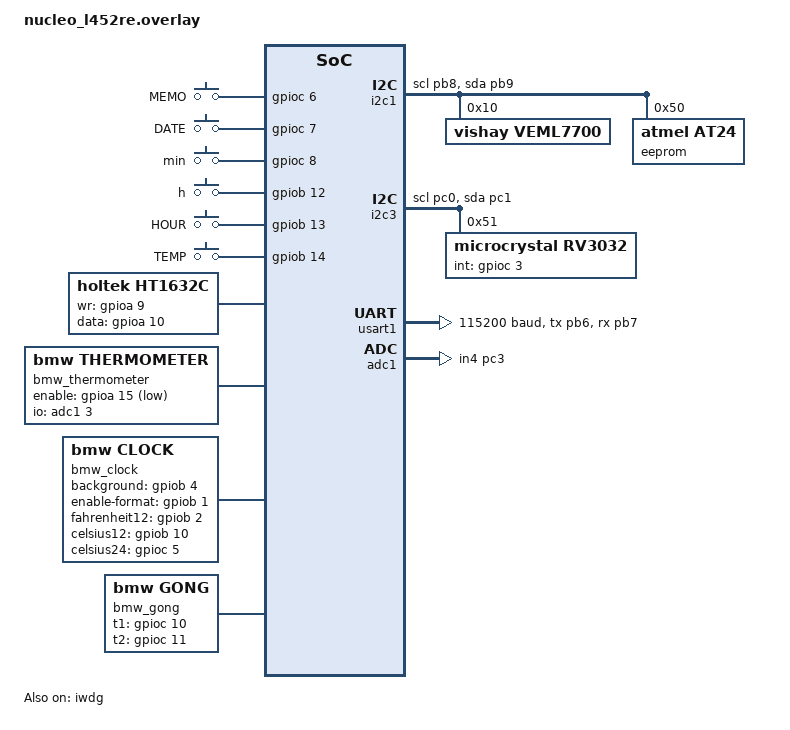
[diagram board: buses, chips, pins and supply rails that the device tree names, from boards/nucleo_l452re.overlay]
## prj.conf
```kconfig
# Copyright (c) 2021 Farit N
# SPDX-License-Identifier: Apache-2.0
#
# This file contains selected Kconfig options for the application.

CONFIG_CPLUSPLUS=y

CONFIG_LOG=y

CONFIG_DISPLAY=y
CONFIG_HT1632C=y

CONFIG_PM=n
CONFIG_PM_DEVICE=n
CONFIG_PM_DEVICE_RUNTIME=n

CONFIG_I2C=y
CONFIG_SENSOR=y
CONFIG_VEML7700=y

CONFIG_EEPROM=y
CONFIG_EEPROM_AT24=y

CONFIG_STM32L_RTC=n
CONFIG_STM32L_RTC_LSE_DRIVE_LOW=n

CONFIG_MICROCRYSTAL_RV3032=y

CONFIG_ADC=y

CONFIG_GPIO=y

CONFIG_WATCHDOG=y
CONFIG_WDT_DISABLE_AT_BOOT=n
CONFIG_IWDG_STM32=y
CONFIG_IWDG_STM32_INITIAL_TIMEOUT=26214
```

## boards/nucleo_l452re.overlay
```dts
/*
 * Copyright (c) 2021 Farit N
 * SPDX-License-Identifier: Apache-2.0
 */

/* This devicetree overlay file will be automatically picked by the Zephyr
 * build system when building the sample for the nucleo_l452re board. It shows
 * how the example-application can be built on sample boards already provided
 * by Zephyr.
 */

/ {
    chosen {
        zephyr,console = &usart1;
        zephyr,shell-uart = &usart1;
        zephyr,sram = &sram0;
        zephyr,flash = &flash0;
        zephyr,can-primary = &can1;
    };

    buttons {
        compatible = "gpio-keys";
        button_memo: button0 {
            label = "MEMO";
            gpios = <&gpioc 6 0>;
        };
        button_date: button1 {
            label = "DATE";
            gpios = <&gpioc 7 0>;
        };
        button_min: button2 {
            label = "min";
            gpios = <&gpioc 8 0>;
        };
        button_h: button3 {
            label = "h";
            gpios = <&gpiob 12 0>;
        };
        button_hour: button4 {
            label = "HOUR";
            gpios = <&gpiob 13 0>;
        };
        button_temp: button5 {
            label = "TEMP";
            gpios = <&gpiob 14 0>;
        };
    };

};

/ {
    ht1632c {
        compatible = "holtek,ht1632c";
        cs-gpios = <&gpioa 8 0>;
        wr-gpios = <&gpioa 9 0>;
        data-gpios = <&gpioa 10 0>;
        commons-options = <0x00>;
    };
};

/ {
    bmw_thermometer {
        compatible = "bmw,thermometer";
        io-channels = <&adc1 3>;
        enable-gpios = <&gpioa 15 GPIO_ACTIVE_LOW>;
    };
};

/ {
    bmw_clock {
        compatible = "bmw,clock";
        background-gpios = <&gpiob 4 0>;
        enable-format-gpios = <&gpiob 1 0>;
        fahrenheit12-gpios = <&gpiob 2 0>;
        celsius12-gpios = <&gpiob 10 0>;
        celsius24-gpios = <&gpioc 5 0>;
    };

    bmw_gong {
        compatible = "bmw,gong";
        t1-gpios = <&gpioc 10 0>;
        t2-gpios = <&gpioc 11 0>;
    };
};

/ {
     soc {
        rtc: rtc@40002800 {
            status="disabled";
        };

       stm32lrtc@40002800 {
            compatible = "st,stm32lrtc";
            status = "disabled";
            reg = < 0x40002800 0x400 >;
            interrupts = < 0x29 0x0 >;
            clocks = < &rcc 0x2 0x10000000 >;
            prescaler = < 0x8000 >;
        };

    };
};

&i2c1 {
    status = "okay";
    pinctrl-0 = < &i2c1_scl_pb8 &i2c1_sda_pb9 >;
    pinctrl-names = "default";

    veml7700@10 {
        compatible = "vishay,veml7700";
        reg = <0x10>;
        als-gain = <0x00>;
        als-it = <0x01>;
        als-pers = <0x01>;
        psm = <0x00>;
    };

    eeprom@50 {
        compatible = "atmel,at24";
        reg = <0x50>;
        size = <65536>;
        pagesize = <8>;
        address-width = <16>;
        timeout = <5>;
    };
};

&i2c2 {
    status = "disabled";
};

&i2c3 {
    status = "okay";
    pinctrl-0 = < &i2c3_scl_pc0 &i2c3_sda_pc1 >;
    pinctrl-names = "default";

    rv3032@51 {
        compatible = "microcrystal,rv3032";
        reg = <0x51>;
        interrupts = < 0x1 0x0 >;
        int-gpios = <&gpioc 3 0>;
        nclke = <0x01>;
        bsm = <0x02>;
        tcm = <0x00>;
        tcr = <0x00>;
    };
};

&usart1 {
    pinctrl-0 = <&usart1_tx_pb6 &usart1_rx_pb7>;
    pinctrl-names = "default";
    current-speed = <115200>;
    status = "okay";
};

&spi1 {
    status = "disabled";
};

&clk_lse {
    status = "disabled";
};

&adc1 {
    pinctrl-0 = <&adc1_in4_pc3>;
    pinctrl-names = "default";
    status = "okay";
};

&can1 {
    status = "disabled";
};

&clk_lsi {
    status = "okay";
};

&iwdg {
    status = "okay";
};
```

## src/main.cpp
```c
/*
 * Copyright (c) 2022 Farit N
 * SPDX-License-Identifier: Apache-2.0
 */

#include <zephyr/kernel.h>

#include "app_version.h"

#include <zephyr/logging/log.h>
LOG_MODULE_REGISTER(main, LOG_LEVEL_INF);

#include <zephyr/device.h>
#include <zephyr/devicetree.h>
#include <zephyr/drivers/gpio.h>
#include <zephyr/drivers/display.h>

#include <zephyr/sys/printk.h>

#include <zephyr/pm/device.h>

#include <zephyr/drivers/sensor.h>
#include <zephyr/drivers/i2c.h>

#include <zephyr/drivers/eeprom.h>

#include <driver_rtc.h>

#include <ClockAlarm.h>
#include <ClockBackgroundLight.h>
#include <ClockButtons.h>
#include <ClockDisplay.h>
#include <ClockLightSensor.h>
#include <ClockSettings.h>
#include <ClockTemperature.h>
#include <ClockTime.h>
#include <ClockTimezone.h>
#include <ClockWatchdog.h>

K_THREAD_STACK_DEFINE(displayStackArea, 2048);
K_THREAD_STACK_DEFINE(buttonsStackArea, 4096);
K_THREAD_STACK_DEFINE(lightSensorStackArea, 2048);
K_THREAD_STACK_DEFINE(alarmStackArea, 2048);
K_THREAD_STACK_DEFINE(backgroundLightStackArea, 2048);


static k_tid_t displayThreadId;

/**
 * Processes buttons
 */
void processButtons(void *clockSettings, void *clockTime, void *clockDisplay)
{
    printk("In processButtons\n");

    printk("in buttons, threadId: %lu, currentThreadId: %lu\n", (unsigned long)displayThreadId, (unsigned long)k_current_get());

    ClockButtons clockButtons((ClockSettings*)clockSettings, (ClockTime*)clockTime, (ClockDisplay*)clockDisplay);

    clockButtons.processButtonActions();
}


/**
 * Sets the brightness of the display depending on the light level
 */
void adjustBrightness(void *clockSettings, void *clockDisplayInput, void*)
{
    //use this thread as watchdog
    ClockWatchdog watchdog;

    ClockLightSensor lightSensor;
    ClockDisplay *clockDisplay = (ClockDisplay*)clockDisplayInput;

    while(1) {
        uint8_t brightness = lightSensor.getBrightness();

        clockDisplay->setBrightness(brightness);

        //feed the watchdog, the thread runs well
        watchdog.feed();

        printk("Sleeping in adjustBrightness\n");
        //it must be smaller than the Watchdog window.max value
        k_msleep(18000);
    }

    return;
}

/**
 * Process an alarm
 */
void processAlarm(void *clockSettings, void *clockTime, void*)
{
    ClockAlarm alarm((ClockSettings*)clockSettings, (ClockTime*)clockTime);

    alarm.process();

    return;
}

/**
 * Process the background light change
 */
void processBackgroundLight(void *clockDisplay, void*, void*)
{
    ClockBackgroundLight backgroundLight((ClockDisplay*)clockDisplay);

    backgroundLight.process();

    return;
}


void displayTime(void*, void*, void*)
{
    ClockSettings clockSettings;

    ClockTime clockTime(&clockSettings);

    ClockTemperature clockTemperature;

    ClockDisplay clockDisplay(&clockSettings, &clockTime, &clockTemperature);
    clockDisplay.setThreadId(k_current_get());


    printk("in display, threadId: %lu, currentThreadId: %lu\n", (unsigned long)displayThreadId, (unsigned long)k_current_get());


    //creates a thread with the function processButtons
    struct k_thread buttonsThreadData;

    k_thread_create(&buttonsThreadData, buttonsStackArea,
        K_THREAD_STACK_SIZEOF(buttonsStackArea), processButtons, &clockSettings, &clockTime, &clockDisplay, -1, 0, K_NO_WAIT);

    //creates a thread with the function adjustBrightness
    struct k_thread lightSensorThreadData;

    k_thread_create(&lightSensorThreadData, lightSensorStackArea,
        K_THREAD_STACK_SIZEOF(lightSensorStackArea), adjustBrightness, &clockSettings, &clockDisplay, NULL, 6, 0, K_MSEC(100));

    //creates a thread with the function processBackgroundLight
    struct k_thread backgroundLightThreadData;

    k_thread_create(&backgroundLightThreadData, backgroundLightStackArea,
        K_THREAD_STACK_SIZEOF(backgroundLightStackArea), processBackgroundLight, &clockDisplay, NULL, NULL, 7, 0, K_MSEC(100));

    //creates a thread with the function processAlarm
    struct k_thread alarmThreadData;

    k_thread_create(&alarmThreadData, alarmStackArea,
        K_THREAD_STACK_SIZEOF(alarmStackArea), processAlarm, &clockSettings, &clockTime, NULL, 3, 0, K_NO_WAIT);

    //so the lightSensor process finish
    k_msleep(300);

    while(1) {

        clockTime.getRtcTime();

        printk("Time: %.2d:%.2d:%.2d", clockTime.getHour(), clockTime.getMinute(), clockTime.getSecond());        
        printk(", Date: %.2d-%.2d-%.2d, Weekday: %.2d\n", clockTime.getYear(), clockTime.getMonth(), clockTime.getDay(), clockTime.getWeekday());
        
        clockDisplay.show();

        k_msleep(clockDisplay.getSleepTime());
    }

    return;
}

int main(void)
{
    //creates a thread with the function processButtons
    struct k_thread displayThreadData;

    displayThreadId = k_thread_create(&displayThreadData, displayStackArea,
        K_THREAD_STACK_SIZEOF(displayStackArea), displayTime, NULL, NULL, NULL, 1, 0, K_NO_WAIT);

    printk("in main, threadId: %zu\n", (size_t)displayThreadId);

    return 0;
}
```

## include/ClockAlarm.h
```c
/*
 * The class that handles an alarm by playing a signal
 * 
 */
#ifndef __CLOCK_ALARM_H
#define __CLOCK_ALARM_H

#include <zephyr/sys/printk.h>

#include <zephyr/device.h>

#include <ClockGong.h>
#include <ClockSettings.h>
#include <ClockTime.h>

class ClockAlarm
{
    public:
        ClockAlarm(ClockSettings *clockSettings, ClockTime *clockTime);

        void process();

    private:
        ClockSettings *clockSettings;

        ClockTime *clockTime;

};

#endif
```

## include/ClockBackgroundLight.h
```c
/*
 * The class for the background light
 * 
 */
#ifndef __CLOCK_BACKGROUND_LIGHT_H
#define __CLOCK_BACKGROUND_LIGHT_H

#include <zephyr/sys/printk.h>

#include <zephyr/device.h>
#include <zephyr/devicetree.h>
#include <zephyr/drivers/display.h>
#include <zephyr/drivers/gpio.h>

#include <ClockDisplay.h>

class ClockBackgroundLight
{
    public:
        ClockBackgroundLight(ClockDisplay *clockDisplay);

        //the semaphore to tell the ClockBackgroundLight thread that an interrupt was triggered
        static struct k_sem interruptSemaphore;

        //sets the background light for the buttons
        void set(bool onOff);

        //the main loop
        void process();


    private:
        //the clockDisplay object
        ClockDisplay *clockDisplay;

        //the background light sensor interrupt data
        static struct gpio_callback callbackData;
        
        //the background light is on or off
        bool lightOn = false;

        struct display_buffer_descriptor bufDesc;

        //the display width in pixels for the background light info
        const static uint8_t displayWidth = 2;

        //the buffer that holds pixels before they are sent to the display
        uint8_t bufDisplay[2];

        /**
         * Gets the background light sensor
         */
        const struct gpio_dt_spec getSensor();

        /**
         * Inits the background change interrupt
         */
        int initInterrupt();

        /**
         * Background light interrupt function
         */
        static void changed(const struct device *dev, struct gpio_callback *cb, uint32_t pins);

        //sends the background light info to the display
        void render();

};

#endif
```

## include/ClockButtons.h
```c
/*
 * The class for the buttons
 * 
 */
#ifndef __CLOCK_BUTTONS_H
#define __CLOCK_BUTTONS_H

#include <zephyr/sys/printk.h>

#include <zephyr/device.h>
#include <zephyr/devicetree.h>

#include <zephyr/drivers/gpio.h>

#include <ClockDisplay.h>
#include <ClockTime.h>
#include <ClockTimezone.h>

/**
 * FIFO to store the list of pressed buttons
 */
struct pressedButton {
    /* 1st word reserved for use by FIFO */
    void *fifoReserved;
    uint8_t id;
};


class ClockButtons
{
    public:

        ClockButtons(ClockSettings *clockSettings, ClockTime *clockTime, ClockDisplay *clockDisplay);

        void processButtonActions();

    private:

        /**
         * FIFO to store clicked buttons events for further processing
         */
        static struct k_fifo pressedButtons;

        /**
         * The last time a button was pressed. For debouncing
         */
        static int64_t lastPressedButtonTime;

        /**
         * The last pressed button ID
         */
        static uint8_t lastPressedButtonId;

        /**
         * The debouncer delay interval to wait for the next press in ms
         */
        static const uint16_t debouncerDelay = 50;

        ClockSettings *clockSettings;

        ClockTime *clockTime;

        ClockDisplay *clockDisplay;

        static const uint8_t hButtonId = 1;
        static const uint8_t minButtonId = 2;
        static const uint8_t hourButtonId = 3;
        static const uint8_t dateButtonId = 4;
        static const uint8_t memoButtonId = 5;
        static const uint8_t tempButtonId = 6;
        

        static struct gpio_callback hButtonCallbackData;
        static struct gpio_callback minButtonCallbackData;
        static struct gpio_callback hourButtonCallbackData;
        static struct gpio_callback dateButtonCallbackData;
        static struct gpio_callback memoButtonCallbackData;
        static struct gpio_callback tempButtonCallbackData;

        /**
         * The debouncer function
         */
        static inline int buttonDebouncer(const uint8_t pressedButtonId) 
        {
            int result = 0;
            int64_t pressedButtonTime = k_uptime_get();

            if ((pressedButtonId == lastPressedButtonId) && ((pressedButtonTime - debouncerDelay) <= lastPressedButtonTime)) {
                result = 1;
            }

            lastPressedButtonTime = pressedButtonTime;
            lastPressedButtonId = pressedButtonId;

            return result;
        }

        int initButtonInterrupt(const struct gpio_dt_spec *button, struct gpio_callback *callback, 
            gpio_callback_handler_t callbackFunction);

        static inline void hButtonPressed(const struct device *dev, struct gpio_callback *cb, uint32_t pins)
        {
            struct pressedButton eventPressedButton;
            eventPressedButton.id = hButtonId;

            if (buttonDebouncer(eventPressedButton.id)) {
                printk("The button was debounced, ID: %u\n", eventPressedButton.id);
                return;
            }

            k_fifo_put(&pressedButtons, &eventPressedButton);
            printk("Button pressed: %s, pins: %zu, ID: %u\n", dev->name, pins, eventPressedButton.id);
        }

        static inline void minButtonPressed(const struct device *dev, struct gpio_callback *cb, uint32_t pins)
        {
            struct pressedButton eventPressedButton;
            eventPressedButton.id = minButtonId;

            if (buttonDebouncer(eventPressedButton.id)) {
                printk("The button was debounced, ID: %u\n", eventPressedButton.id);
                return;
            }

            k_fifo_put(&pressedButtons, &eventPressedButton);
            printk("Button pressed: %s, pins: %zu, ID: %u\n", dev->name, pins, eventPressedButton.id);
        }

        static inline void hourButtonPressed(const struct device *dev, struct gpio_callback *cb, uint32_t pins)
        {
            struct pressedButton eventPressedButton;
            eventPressedButton.id = hourButtonId;

            if (buttonDebouncer(eventPressedButton.id)) {
                printk("The button was debounced, ID: %u\n", eventPressedButton.id);
                return;
            }

            k_fifo_put(&pressedButtons, &eventPressedButton);
            printk("Button pressed: %s, pins: %zu, ID: %u\n", dev->name, pins, eventPressedButton.id);
        }

        static inline void dateButtonPressed(const struct device *dev, struct gpio_callback *cb, uint32_t pins)
        {
            struct pressedButton eventPressedButton;
            eventPressedButton.id = dateButtonId;

            if (buttonDebouncer(eventPressedButton.id)) {
                printk("The button was debounced, ID: %u\n", eventPressedButton.id);
                return;
            }

            k_fifo_put(&pressedButtons, &eventPressedButton);
            printk("Button pressed: %s, pins: %zu, ID: %u\n", dev->name, pins, eventPressedButton.id);
        }

        static inline void memoButtonPressed(const struct device *dev, struct gpio_callback *cb, uint32_t pins)
        {
            struct pressedButton eventPressedButton;
            eventPressedButton.id = memoButtonId;

            if (buttonDebouncer(eventPressedButton.id)) {
                printk("The button was debounced, ID: %u\n", eventPressedButton.id);
                return;
            }

            k_fifo_put(&pressedButtons, &eventPressedButton);
            printk("Button pressed: %s, pins: %zu, ID: %u\n", dev->name, pins, eventPressedButton.id);
        }

        static inline void tempButtonPressed(const struct device *dev, struct gpio_callback *cb, uint32_t pins)
        {
            struct pressedButton eventPressedButton;
            eventPressedButton.id = tempButtonId;

            if (buttonDebouncer(eventPressedButton.id)) {
                printk("The button was debounced, ID: %u\n", eventPressedButton.id);
                return;
            }

            k_fifo_put(&pressedButtons, &eventPressedButton);
            printk("Button pressed: %s, pins: %zu, ID: %u\n", dev->name, pins, eventPressedButton.id);
        }

        void hButtonProcess(void);

        void minButtonProcess(void);

        void dateButtonProcess(void);

        void hourButtonProcess(void);

        void tempButtonProcess(void);

        void memoButtonProcess(void);

        /**
         * Process the hour changing buttons
         */
        void processHourChange();
};

#endif
```

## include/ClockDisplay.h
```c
/*
 * The class for the display
 * 
 */
#ifndef __CLOCK_DISPLAY_H
#define __CLOCK_DISPLAY_H

#include <zephyr/sys/printk.h>

#include <zephyr/device.h>
#include <zephyr/devicetree.h>
#include <zephyr/drivers/display.h>
#include <zephyr/drivers/gpio.h>
#include <time.h>

#include <stdio.h>
#include <string.h>
#include <stdlib.h>

#include <ClockTemperature.h>
#include <ClockTime.h>
#include <ClockTimeLib.h>

#include <ClockLightSensor.h>

class ClockDisplay
{
    public:
        //the operating mode of the display: time, date, temperature
        uint8_t mode = 0;

        static const uint8_t modeTime = 0;
        static const uint8_t modeDate = 1;
        static const uint8_t modeTemp = 2;

        //setting the time modes
        static const uint8_t modeYear = 10;
        static const uint8_t modeMonth = 11;
        static const uint8_t modeDay = 12;
        static const uint8_t modeHour = 13;
        static const uint8_t modeMinute = 14;

        //setting the daylight saving start time for a timezone
        static const uint8_t modeDstWeek = 30;
        static const uint8_t modeDstWeekday = 31;
        static const uint8_t modeDstMonth = 32;
        static const uint8_t modeDstHour = 33;
        static const uint8_t modeDstOffset = 34;

        //setting the standard start time for a timezone
        static const uint8_t modeStdWeek = 40;
        static const uint8_t modeStdWeekday = 41;
        static const uint8_t modeStdMonth = 42;
        static const uint8_t modeStdHour = 43;
        static const uint8_t modeStdOffset = 44;

        //setting an hourly alarm
        static const uint8_t modeHourlyAlarm = 50;

        //setting the frequency correction offset
        static const uint8_t modeCorrectionOffset = 55;

        //shows the light sensor value
        static const uint8_t modeLightSensorValue = 57;
        
        //the display device
        const struct device *display;

        //the mutex to limit simultaneous access to the display hardware
        struct k_mutex mutexDisplay;


        ClockDisplay(ClockSettings *clockSettings, ClockTime *clockTime, ClockTemperature *clockTemperature);

        //show different screens depending on the mode
        void show(bool showTitle = true);

        //sets the brightness level from luxes
        void setBrightness(uint8_t lux);

        //sets the background light for the buttons
        void setBackgroundLight(bool onOff);

        //sets the mode
        void inline setMode(uint8_t mode) {
            this->mode = mode;
        }

        //gets the mode
        uint8_t inline getMode() {
            return this->mode;
        }

        //gets the settings object
        ClockSettings inline *getClockSettings()
        {
            return this->clockSettings;
        }

        /**
         * Clears the screen buffer
         */
        void clearScreen();


        /**
         * Sets the thread ID
         */
        void inline setThreadId(k_tid_t threadId)
        {
            this->threadId = threadId;
        }

        /**
         * Wakes up the display from the while cycle sleep
         */
        void inline wakeup()
        {
            k_wakeup(this->threadId);
        }
        
        /**
         * Gets the sleep time before the next display refresh
         *
         * @return uint32_t The sleep time in ms
         */
        uint32_t getSleepTime();

    private:
        //the clockSettings object
        ClockSettings *clockSettings;

        //the clockTime object
        ClockTime *clockTime;

        //the clockTemperature object
        ClockTemperature *clockTemperature;

        //saves the current thread ID
        k_tid_t threadId;

        //the previous operating mode of the display: time, date, temperature
        uint8_t previousMode = 0;

        //the background light sensor interrupt data
        static struct gpio_callback backgroundLightCallbackData;

        //the background light interrupt was called
        static bool backgroundLightInterruptCalled;
        
        //the background light is on or off
        bool backgroundLightOn = false;

        struct display_buffer_descriptor bufDesc;

        //the display width in pixels
        const static uint8_t displayWidth = 30;

        //the font width
        const static uint8_t fontWidth = 5;

        //the buffer that holds pixels before they are send to the display
        uint8_t bufDisplay[30];

        //FIFO for button presses
        struct k_fifo *pressedButtons;

        //the font
        const static uint8_t font[][5];

        //sends the contents of the buffer to the display
        void render();


        /**
         * Draws a character at the position X
         *
         * @param uint8_t c The character to display
         * @param uint8_t x The position at the display from which to display
         */
        void drawChar(uint8_t c, uint8_t x); 

        /**
         * Draws and displays the string
         */
        void drawString(const char *displayStr);

        /**
         * Draws and displays the string scrolling it to the left
         */
        void drawStringScrolling(const char *displayStr);

        /**
         * Gets the background light sensor
         */
        const struct gpio_dt_spec getBackgroundLightSensor();

        /**
         * Inits the background change interrupt
         */
        int initBackgroundLightInterrupt();

        /**
         * Background light interrupt function
         */
        static void backgroundLightChanged(const struct device *dev, struct gpio_callback *cb, uint32_t pins);

};

#endif
```

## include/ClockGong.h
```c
/*
 * The class for the gong
 * 
 */
#ifndef __CLOCK_GONG_H
#define __CLOCK_GONG_H

#include <zephyr/sys/printk.h>

#include <zephyr/kernel.h>
#include <zephyr/device.h>
#include <zephyr/devicetree.h>
#include <zephyr/drivers/gpio.h>


class ClockGong
{
    public:
        ClockGong();

        //play the Gong T1 sound
        void playT1();

        //play the Gong T2 sound
        void playT2();
        

    private:

};

#endif
```

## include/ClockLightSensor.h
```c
/*
 * The class for the light sensor
 * 
 */
#ifndef __CLOCK_LIGHT_SENSOR_H
#define __CLOCK_LIGHT_SENSOR_H

#include <zephyr/sys/printk.h>

#include <zephyr/device.h>
#include <zephyr/devicetree.h>
#include <zephyr/drivers/sensor.h>
#include <zephyr/drivers/i2c.h>

struct ClockLightBrightness {
    //from 0 to 255
    uint8_t brightness;
    //from the light value in Lux
    uint32_t from;
    //to the light value in Lux
    uint32_t to;
};

class ClockLightSensor
{
    public:
        ClockLightSensor();

        //get the light value in luxes
        uint32_t getLightLux();

        //get the light brightness using the lookup table
        uint8_t getBrightness();

    private:
        //the light sensor device
        const struct device *sensor;

        //the Lux light value to the brightness(0-255) lookup table
        const static ClockLightBrightness brightnessLookupTable[16];

};

#endif
```

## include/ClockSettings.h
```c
/*
 * The class for the settings
 * 
 */
#ifndef __CLOCK_SETTINGS_H
#define __CLOCK_SETTINGS_H

#include <zephyr/sys/printk.h>

#include <zephyr/device.h>
#include <zephyr/devicetree.h>

#include <zephyr/drivers/i2c.h>
#include <zephyr/drivers/eeprom.h>

#include <zephyr/drivers/gpio.h>

#include <ClockTimezone.h>

class ClockSettings
{
    public:
        
        //temperature in Fahrenheit
        static const uint8_t formatFahrenheit = 10;
        //temperature in Celsius
        static const uint8_t formatCelsius = 15;

        //12-hour clock
        static const uint8_t formatHour12 = 20;
        //24-hour clock
        static const uint8_t formatHour24 = 25;


        // The daylight time start
        TimeChangeRule dstRule;
        
        // The standard time start
        TimeChangeRule stdRule;

        // If the hourly alarm is on or off
        bool hourlyAlarm = false;

        //how to show temperature: Celsius or Fahrenheit
        uint8_t formatTemperature;
        //12-hour or 24-hour
        uint8_t formatHour;

        ClockSettings();

        /**
         * Loads the variables of the class from the EEPROM
        */
        int load();

        /**
         * Saves the variables of the class  into the EEPROM
         */
        int save();

        /**
         * Sets the daylight weekday number
         */
        inline void setDstWeekday(uint8_t dow)
        {
            dstRule.dow = dow;
        }

        /**
         * Sets the standard weekday number
         */
        inline void setStdWeekday(uint8_t dow)
        {
            stdRule.dow = dow;
        }

        /**
         * Sets the daylight month number
         */
        inline void setDstMonth(uint8_t month)
        {
            dstRule.month = month;
        }

        /**
         * Sets the standard month number
         */
        inline void setStdMonth(uint8_t month)
        {
            stdRule.month = month;
        }

        /**
         * Sets the daylight week number
         */
        inline void setDstWeek(uint8_t week)
        {
            dstRule.week = week;
        }

        /**
         * Sets the standard week number
         */
        inline void setStdWeek(uint8_t week)
        {
            stdRule.week = week;
        }

        /**
         * Sets the daylight time start hour
         */
        inline void setDstHour(uint8_t hour)
        {
            dstRule.hour = hour;
        }

        /**
         * Sets the standard time hour
         */
        inline void setStdHour(uint8_t hour)
        {
            stdRule.hour = hour;
        }

        /**
         * Sets the daylight time offset in minutes
         */
        inline void setDstOffset(int offset)
        {
            dstRule.offset = offset;
        }

        /**
         * Sets the standard time offset in minutes
         */
        inline void setStdOffset(int offset)
        {
            stdRule.offset = offset;
        }

        /**
         * Sets the hourly alarm
         */
        inline void setHourlyAlarm(bool hourlyAlarm)
        {
            this->hourlyAlarm = hourlyAlarm;
        }

        /**
         * Gets the hourly alarm
         */
        inline bool getHourlyAlarm()
        {
            return this->hourlyAlarm;
        }


    private:
        //the settings ID to verify that the data is written correctly
        uint32_t settingsId;

        //sets default values
        void setDefaultValues();

        //get the EEPROM device
        const struct device *getEepromDevice();

        //read the temperature and 12-hour/24-hour format (Celsius/Fahrenheit 12/24 hour) setting pins 
        void readFormat();

        //read one of the format setting pins
        uint8_t readFormatPin(const struct gpio_dt_spec *gpio);
};

#endif
```

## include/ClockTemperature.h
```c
/*
 * The class for the temperature sensor
 * 
 */
#ifndef __CLOCK_TEMPERATURE_H
#define __CLOCK_TEMPERATURE_H

#include <zephyr/sys/printk.h>

#include <zephyr/device.h>
#include <zephyr/devicetree.h>

#include <zephyr/drivers/adc.h>
#include <zephyr/drivers/gpio.h>

#include <stdlib.h>

struct ClockNtc {
    //T [°C] 
    int temperature;
    //R nom [Ω]
    float resistanceNom;
    //R min [Ω]
    float resistanceMin;
    //R max [Ω] 
    float resistanceMax;
};

class ClockTemperature
{
    public:
        ClockTemperature();

        //get the temperature in degrees Celcius
        int getTemperature();

    private:

        //the ADC device
        const struct device *adcDevice;

        struct adc_sequence *adcSequence;

        uint8_t channelId;

        //enable the pin before running the measurements
        struct gpio_dt_spec enablePin;

        //the resistance to temperature lookup table for the NTC resistor
        const static ClockNtc ntcLookupTable[108];

        //the analog reference voltage for ADC
        const static uint16_t adcVref = 3300;

        //the resistor divider top part resistor value in Ohm
        const static uint16_t dividerResistor = 4700;

        //the mutex to limit simultaneous access to the ADC hardware
        struct k_mutex mutexAdc;

};

#endif
```

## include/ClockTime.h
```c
/*
 * The class for time functions
 * 
 */
#ifndef __CLOCK_TIME_H
#define __CLOCK_TIME_H

#include <time.h>
#include <driver_rtc.h>
#include <stm32_ll_rtc.h>

#include <zephyr/sys/printk.h>

#include <ClockSettings.h>
#include <ClockTimeLib.h>
#include <ClockTimezone.h>


class ClockTime 
{
    public:
        ClockTime(ClockSettings *clockSettings);

        //the semaphore to tell the ClockAlarm thread that an alarm was triggered
        static struct k_sem alarmSemaphore;

        /**
         * Gets the time from the RTC device
         */
        int64_t getRtcTime();

        /**
         * Sets the time into the RTC device
         */
        int setRtcTime();

        void setHour(uint8_t hour)
        {
            tm.tm_hour = hour;
        }

        void setMinute(uint8_t minute)
        {
            tm.tm_min = minute;
        }

        void setSecond(uint8_t second)
        {
            tm.tm_sec = second;
        }

        void setDay(uint8_t day)
        {
            tm.tm_mday = day;
        }

        void setMonth(uint8_t month)
        {
            tm.tm_mon = month - 1;
        }

        void setYear(uint32_t year)
        {
            tm.tm_year = year - 1900;
        }

        uint8_t getHour() 
        {
            return tm.tm_hour;
        }

        // the hour for the given time in 12 hour format
        uint8_t getHourFormat12() 
        {
            // 12 midnight
            if (tm.tm_hour == 0) {
                return 12; 
            } else if (tm.tm_hour > 12) {
                return (tm.tm_hour - 12);
            } else {
                return tm.tm_hour;
            }
        }

        // returns true if AM
        uint8_t isAM() 
        { 
            return !isPM(); 
        }

        // returns true if PM
        uint8_t isPM() 
        {
            return (getHour() >= 12); 
        }

        uint8_t getMinute() 
        {
            return tm.tm_min; 
        }

        uint8_t getSecond() 
        {
            return tm.tm_sec; 
        }

        uint8_t getDay()
        {
            return tm.tm_mday;
        }

        uint8_t getWeekday() 
        {
            return tm.tm_wday;
        }

        /**
         * Returns the weekday name by its weekday number
         */
        inline const char *getWeekdayName()
        {
            return (ClockTime::weekdayNames[this->getWeekday()]);
        }
   
        uint8_t getMonth()
        {
            return (tm.tm_mon + 1); 
        }

        const char *getMonthName()
        {        
            return (ClockTime::monthNames[this->getMonth() - 1]);
        }


        uint32_t getYear() 
        {
            return (tm.tm_year + 1900); 
        }

        /** 
         * Returns the frequency correction offset from the RTC
         */
        int8_t getCorrectionOffset();

        /**
         * Sets the frequency correction offset to the RTC
         * @param int8_t The offset is from -32 to +31
         */
        void setCorrectionOffset(int8_t offset);

        ClockTimezone *getTimezone()
        {
            return &timezone;
        }

        /**
         * Gets the number of days in the current month: 30, 31, 28, 29
         */
        uint8_t getDaysInMonth();

        //Sets the alarm interrupt
        void setAlarmInterrupt();


        /**
         * Checks if the local standard to DST change time is within 1 hour from the supplied time
         * It's necessary if we need to set new time on a DST day.
         */
        inline bool isStartDstWithinOneHourLocal(int64_t currentTime)
        {
            printk("isStartDstWithinOneHour %lld\n", currentTime);

            printk("timezone.getStartDst: %lld\n", timezone.getStartDst());

            printk("timezone.getStartDst + 1 hour: %lld\n", timezone.getStartDst() + 1 * 60 * 60);

            return (((currentTime >= timezone.getStartDst()) && (currentTime <= (timezone.getStartDst() + 1 * 60 * 60))) ? true : false);
        }

        /**
         * Checks if the local DST to Standard change time is within 1 hour from the supplied time
         * It's necessary if we need to set new time on a DST day.
         */
        inline bool isStartStdWithinOneHourLocal(int64_t currentTime)
        {
            return (((currentTime >= timezone.getStartStd()) && (currentTime <= (timezone.getStartStd() + 1 * 60 * 60))) ? true : false);
        }

    private:
        //the RTC device
        const struct device *rtc;

        struct tm tm;
        struct tm tmUtc;

        //the weekday names
        static const char weekdayNames[8][4];

        //the month names
        static const char monthNames[12][4];

        //the Settings object
        ClockSettings *clockSettings;

        //the Timezone object
        ClockTimezone timezone;
        
        //the mutex to limit simultaneous access to the RTC
        struct k_mutex mutexRtc;

        //the config for the alarm that includes the callback function
        static struct rtc_alarm_cfg alarmConf;

        //the function that is called when an interrupt is triggered
        static void alarmCallback(const struct device *dev, void *user_data);

};

#endif
```

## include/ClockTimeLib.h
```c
/*
 * The class for time functions
 * 
 */
#ifndef __CLOCK_TIMELIB_H
#define __CLOCK_TIMELIB_H

#include <time.h>
#include <zephyr/sys/printk.h>


class ClockTimeLib 
{
    public:
        /**
         * Converts from UNIX time to the structure tm elements
         */
        static void gmtime(int64_t timeInput, struct tm *tm);

        /**
         * Convert time elements from the structure tm into the UNIX time
         */
        static int64_t mktime(struct tm *tm);

        /**
         * Checks if the year is leap
         */
        static bool isLeapYear(uint32_t year)
        {
            year = 1900 + year;

            return (((year % 4 == 0) && (year % 100 != 0)) || (year % 400 == 0));
        }


        /** Convert a civil (proleptic Gregorian) date to days relative to
         * 1970-01-01.
         *  
         * @param year the calendar year
         * @param month the calendar month, in the range [1, 12]
         * @param day the day of the month, in the range [1, last_day_of_month(y, m)]
         *
         * @return the signed number of days between the specified day and
         * 1970-01-01
         */
        static uint64_t daysFromCivil(uint32_t year, uint8_t month, uint8_t day);

        static const uint8_t monthDays[];

    private:

};

#endif
```

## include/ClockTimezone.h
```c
/*
 * The class to define timezones
 * 
 */
#ifndef __CLOCK_TIMEZONE_H
#define __CLOCK_TIMEZONE_H

#include <time.h>

#include <zephyr/sys/printk.h>
#include <ClockTimeLib.h>

// Constants for TimeChangeRules
enum week_t {Last, First, Second, Third, Fourth}; 
enum dow_t {Sun=0, Mon, Tue, Wed, Thu, Fri, Sat};
enum month_t {Jan=0, Feb, Mar, Apr, May, Jun, Jul, Aug, Sep, Oct, Nov, Dec};


// Structure to describe rules for when daylight/summer time begins,
// or when standard time begins.
struct TimeChangeRule
{
    // five chars max
    char abbrev[6];
    // First, Second, Third, Fourth, or Last week of the month
    uint8_t week;
    // day of week, 0=Sun, 1=Mon, ... 6=Sat
    uint8_t dow;
    // 1=Jan, 2=Feb, ... 12=Dec
    uint8_t month;
    // 0-23
    uint8_t hour;
    // offset from UTC in minutes
    int offset;
};

class ClockTimezone 
{
    public:
        ClockTimezone(TimeChangeRule *dstRule, TimeChangeRule *stdRule, uint32_t year);

        void setRules(TimeChangeRule *dstRule, TimeChangeRule *stdRule, uint32_t year);

        /**
         * Converts the UTC UNIX time to the local time
         */
        int64_t toLocal(int64_t utc, uint32_t year);

        /**
         * Checks if the UTC time is inside the daylight saving interval or not
         */
        bool isDstUtc(int64_t utc, uint32_t year);

        /**
         * Converts the local time to the UTC UNIX time
         */
        int64_t toUtc(int64_t local, uint32_t year);

        /**
         * Checks if the local time is inside the daylight saving interval or not
         */
        bool isDstLocal(int64_t local, uint32_t year);


        /**
         * Sets the daylight weekday number
         */
        inline void setDstWeekday(uint8_t dow)
        {
            dstRule->dow = dow;
        }

        /**
         * Gets the daylight weekday number
         */
        inline const uint8_t getDstWeekday()
        {
            return dstRule->dow;
        }

        /**
         * Returns the daylight weekday name
         */
        inline const char *getDstWeekdayName()
        {
            return (ClockTimezone::weekdayNames[getDstWeekday()]);
        }

        /**
         * Sets the standard weekday number
         */
        inline void setStdWeekday(uint8_t dow)
        {
            stdRule->dow = dow;
        }

        /**
         * Gets the standard weekday number
         */
        inline const uint8_t getStdWeekday()
        {
            return stdRule->dow;
        }

        /**
         * Returns the standard weekday name
         */
        inline const char *getStdWeekdayName()
        {
            return (ClockTimezone::weekdayNames[getStdWeekday()]);
        }

        /**
         * Sets the daylight month number
         */
        inline void setDstMonth(uint8_t month)
        {
            dstRule->month = month;
        }

        /**
         * Gets the daylight month number
         */
        inline const uint8_t getDstMonth()
        {
            return dstRule->month;
        }

        /**
         * Returns the daylight month name
         */
        inline const char *getDstMonthName()
        {
            return (ClockTimezone::monthNames[getDstMonth()]);
        }

        /**
         * Sets the standard month number
         */
        inline void setStdMonth(uint8_t month)
        {
            stdRule->month = month;
        }

        /**
         * Gets the standard month number
         */
        inline const uint8_t getStdMonth()
        {
            return stdRule->month;
        }

        /**
         * Returns the standard month name
         */
        inline const char *getStdMonthName()
        {
            return (ClockTimezone::monthNames[getStdMonth()]);
        }

        /**
         * Sets the daylight week number
         */
        inline void setDstWeek(uint8_t week)
        {
            dstRule->week = week;
        }

        /**
         * Gets the daylight week number
         */
        inline const uint8_t getDstWeek()
        {
            return dstRule->week;
        }

        /**
         * Returns the daylight time week name
         */
        inline const char *getDstWeekName()
        {
            return (ClockTimezone::weekNames[getDstWeek()]);
        }

        /**
         * Sets the standard time week number
         */
        inline void setStdWeek(uint8_t week)
        {
            stdRule->week = week;
        }

        /**
         * Gets the standard time week number
         */
        inline const uint8_t getStdWeek()
        {
            return stdRule->week;
        }

        /**
         * Returns the standard time week name
         */
        inline const char *getStdWeekName()
        {
            return (ClockTimezone::weekNames[getStdWeek()]);
        }

        /**
         * Sets the daylight time start hour
         */
        inline void setDstHour(uint8_t hour)
        {
            dstRule->hour = hour;
        }

        /**
         * Gets the daylight time start hour
         */
        inline const uint8_t getDstHour()
        {
            return dstRule->hour;
        }

        /**
         * Sets the standard time hour
         */
        inline void setStdHour(uint8_t hour)
        {
            stdRule->hour = hour;
        }

        /**
         * Gets the standard time start hour
         */
        inline const uint8_t getStdHour()
        {
            return stdRule->hour;
        }

        /**
         * Sets the daylight time offset in minutes
         */
        inline void setDstOffset(int offset)
        {
            dstRule->offset = offset;
        }

        /**
         * Gets the daylight time offset in minutes
         */
        inline const int getDstOffset()
        {
            return dstRule->offset;
        }

        /**
         * Sets the standard time offset in minutes
         */
        inline void setStdOffset(int offset)
        {
            stdRule->offset = offset;
        }

        /**
         * Gets the standard time offset in minutes
         */
        inline const int getStdOffset()
        {
            return stdRule->offset;
        }

        /**
         * Gets the number of available offsets
         */
        inline const int getNumberOfOffsets()
        {
            return sizeof(offsets)/sizeof(*offsets);
        }

        /**
         * Gets the number of the offset
         */
        inline const uint8_t getOffsetNumber(int offset)
        {
            printk("numberofoffsets: %d\n", getNumberOfOffsets());

            for (uint8_t i = 0; i < getNumberOfOffsets(); i++) {
                if (offsets[i] == offset) {
                    printk("offsets[i]: %d\n", offsets[i]);
                    return i;
                }
            }

            return 0;
        }

        /**
         * Gets the offset by its number in the array
         */
        inline const int getOffsetByNumber(uint8_t offsetNumber)
        {
            return (offsets[offsetNumber]);
        }

        /**
         * Gets the the start time of DST
         */
        inline const int64_t getStartDst()
        {
            return startDst;
        }

        /**
         * Gets the the start time of the Standard time
         */
        inline const int64_t getStartStd()
        {
            return startStd;
        }

    private:
        //the current year
        uint32_t year;

        //the daylight saving start rule
        TimeChangeRule *dstRule;
        //the standard time start rule
        TimeChangeRule *stdRule;

        // the start of the daylight saving time for the year
        int64_t startDst;
        // the start of the daylight saving time for the year in UTC
        int64_t startDstUtc;

        // the start of the standard time for the year
        int64_t startStd;
        // the start of the standard time for the year in UTC
        int64_t startStdUtc;

        //the week names for timezone changes
        static const char weekNames[5][6];

        //the weekday names
        static const char weekdayNames[8][4];

        //the month names
        static const char monthNames[12][4];

        //the offsets
        static const int offsets[38];

        /**
         * Calculates start and end times of daylight saving times for the year
         */
        void calculateTimeChange();

        /**
         * Convert the rule to the UNIX time
         */
        int64_t mktime(const TimeChangeRule *rule);

};

#endif
```

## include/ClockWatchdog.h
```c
/*
 * The class that runs a watchdog
 * 
 */
#ifndef __CLOCK_WATCHDOG_H
#define __CLOCK_WATCHDOG_H

#include <zephyr/sys/printk.h>

#include <zephyr/device.h>
#include <zephyr/devicetree.h>
#include <zephyr/drivers/watchdog.h>

class ClockWatchdog
{
    public:
        ClockWatchdog();

        void feed();

    private:
        const struct device *watchdog;

        int watchdogChannelId;

        int init();

};

#endif
```
